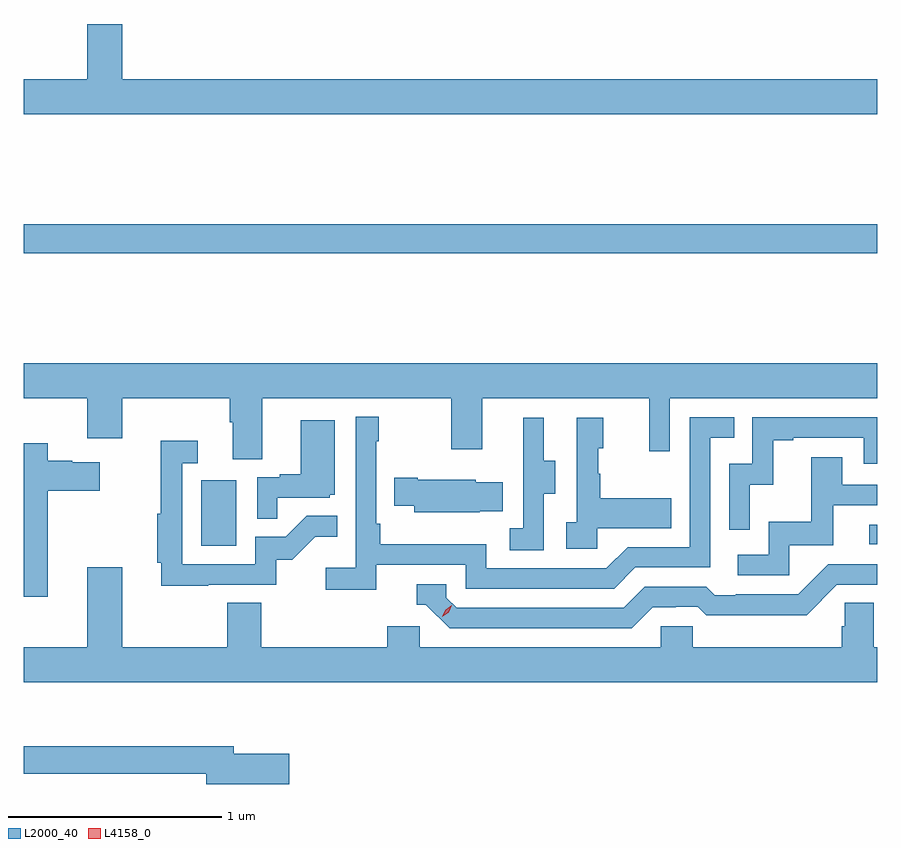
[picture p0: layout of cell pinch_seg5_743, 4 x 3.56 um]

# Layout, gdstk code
import gdstk
lib = gdstk.Library(unit=1e-6, precision=1e-09)
def R(c, l, rs):  # rectangles x0, y0, x1, y1
    for r in rs: c.add(gdstk.rectangle(r[:2], r[2:], *l))
def P(c, l, *ps):  # polygons
    for p in ps: c.add(gdstk.Polygon(p, *l))
L2000_40 = (2000, 40)
L4158_0 = (4158, 0)

pinch_seg5_743 = lib.new_cell('pinch_seg5_743')
R(pinch_seg5_743, L2000_40, [(860.846,901.356,861.01,901.663), (863.979,901.362,864.015,901.455), (860.015,902.728,864.015,902.864)])
P(pinch_seg5_743, L2000_40, [(864.015,903.544),(860.476,903.544),(860.476,903.802),(860.312,903.802),(860.312,903.544),(860.015,903.544),(860.015,903.38),(864.015,903.38)],
  [(861.133,902.048),(862.018,902.048),(862.018,901.809),(862.165,901.809),(862.165,902.048),(862.946,902.048),(862.946,901.8),(863.043,901.8),(863.043,902.048),(864.015,902.048),(864.015,902.212),(860.015,902.212),(860.015,902.048),(860.312,902.048),(860.312,901.86),(860.476,901.86),(860.476,902.048),(860.981,902.048),(860.981,901.936),(860.993,901.936),(860.993,901.762),(861.133,901.762)],
  [(861.668,901.266),(862.086,901.266),(862.086,901.155),(862.783,901.155),(862.882,901.254),(863.232,901.254),(863.232,901.863),(863.345,901.863),(863.345,901.959),(863.136,901.959),(863.136,901.35),(862.845,901.35),(862.746,901.251),(862.182,901.251),(862.182,901.363),(861.686,901.363),(861.686,901.459),(861.666,901.459),(861.666,901.847),(861.679,901.847),(861.679,901.96),(861.57,901.96),(861.57,901.252),(861.429,901.252),(861.429,901.15),(861.668,901.15)],
  [(863.418,901.643),(863.528,901.643),(863.528,901.851),(863.623,901.851),(863.623,901.863),(863.952,901.863),(863.952,901.74),(864.015,901.74),(864.015,901.959),(863.43,901.959),(863.43,901.74),(863.322,901.74),(863.322,901.431),(863.418,901.431)],
  [(862.704,901.439),(863.051,901.439),(863.051,901.579),(862.717,901.579),(862.717,901.694),(862.707,901.694),(862.707,901.812),(862.732,901.812),(862.732,901.957),(862.608,901.957),(862.608,901.466),(862.557,901.466),(862.557,901.341),(862.704,901.341)],
  [(862.452,901.6),(862.507,901.6),(862.507,901.755),(862.453,901.755),(862.453,901.957),(862.355,901.957),(862.355,901.743),(862.356,901.743),(862.356,901.439),(862.293,901.439),(862.293,901.336),(862.452,901.336)],
  [(861.203,901.581),(861.45,901.581),(861.45,901.596),(861.472,901.596),(861.472,901.945),(861.314,901.945),(861.314,901.69),(861.215,901.69),(861.215,901.677),(861.108,901.677),(861.108,901.483),(861.203,901.483)],
  [(860.879,901.173),(861.198,901.173),(861.198,901.29),(861.274,901.29),(861.381,901.397),(861.485,901.397),(861.485,901.496),(861.341,901.496),(861.243,901.398),(861.099,901.398),(861.099,901.269),(860.757,901.269),(860.757,901.743),(860.83,901.743),(860.83,901.849),(860.656,901.849),(860.656,901.506),(860.641,901.506),(860.641,901.276),(860.66,901.276),(860.66,901.168),(860.879,901.168)],
  [(860.128,901.613),(860.371,901.613),(860.371,901.747),(860.241,901.747),(860.241,901.755),(860.128,901.755),(860.128,901.837),(860.015,901.837),(860.015,901.116),(860.128,901.116)],
  [(863.604,901.359),(863.809,901.359),(863.809,901.545),(864.015,901.545),(864.015,901.641),(863.851,901.641),(863.851,901.771),(863.707,901.771),(863.707,901.468),(863.508,901.468),(863.508,901.314),(863.361,901.314),(863.361,901.218),(863.604,901.218)],
  [(862.151,901.517),(862.259,901.517),(862.259,901.654),(862.134,901.654),(862.134,901.666),(861.862,901.666),(861.862,901.674),(861.751,901.674),(861.751,901.544),(861.845,901.544),(861.845,901.514),(862.151,901.514)],
  [(862.963,901.068),(863.07,901.068),(863.07,901.071),(863.173,901.071),(863.215,901.029),(863.448,901.029),(863.448,901.031),(863.684,901.031),(863.826,901.173),(864.015,901.173),(864.015,901.269),(863.787,901.269),(863.646,901.128),(863.353,901.128),(863.353,901.125),(863.254,901.125),(863.215,901.164),(862.926,901.164),(862.827,901.065),(862.044,901.065),(861.996,901.113),(861.996,901.176),(861.857,901.176),(861.857,901.08),(861.9,901.08),(862.011,900.969),(862.864,900.969)],
  [(864.015,900.88),(864,900.88),(864,901.088),(863.863,901.088),(863.863,900.978),(863.849,900.978),(863.849,900.88),(863.151,900.88),(863.151,900.978),(863.001,900.978),(863.001,900.88),(861.87,900.88),(861.87,900.978),(861.719,900.978),(861.719,900.88),(861.128,900.88),(861.128,901.088),(860.968,901.088),(860.968,900.88),(860.476,900.88),(860.476,901.255),(860.312,901.255),(860.312,900.88),(860.015,900.88),(860.015,900.716),(864.015,900.716)],
  [(861.259,900.381),(860.998,900.381),(860.998,900.415),(860.015,900.415),(860.015,900.286),(860.87,900.286),(860.87,900.239),(861.259,900.239)])
P(pinch_seg5_743, L4158_0, [(861.976,901.024),(861.976,901.025),(861.992,901.057),(862.022,901.077),(862.022,901.077),(862.022,901.077),(862.007,901.044),(861.976,901.024)])

lib.write_gds('pinch_seg5_743.gds')
